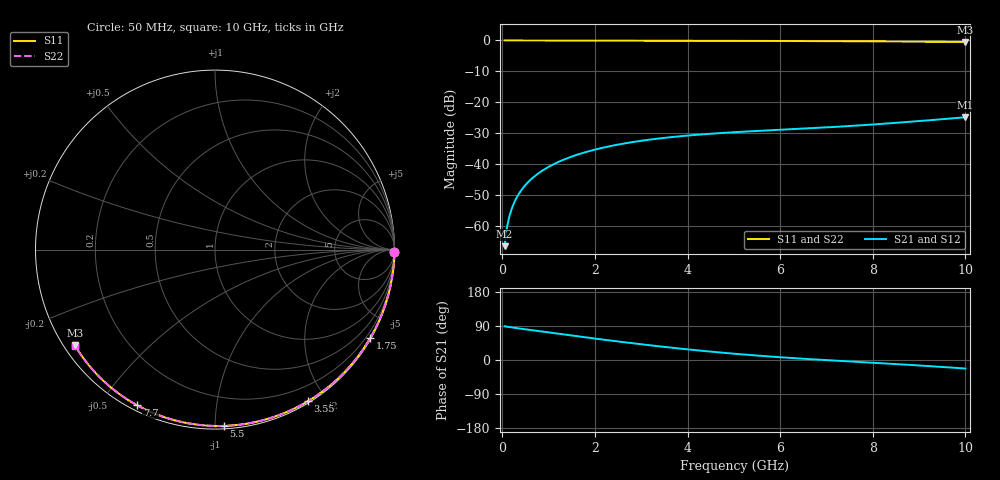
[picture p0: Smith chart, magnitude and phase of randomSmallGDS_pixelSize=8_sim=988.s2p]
! freq	dB(S11)	phase(S11)	dB(S12)	phase(S12)
!  dB(S21)	phase(S21)	dB(S22)	phase(S22)
!S-par simulation data
#  GHz  S  DB  R 50
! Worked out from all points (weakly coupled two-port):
!   200 points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, 50 MHz to 10 GHz, reference 50 ohm
!   highest |S21| = -24.90 dB at 10 GHz (marker M1); lowest = -66.7 dB at 50 MHz (marker M2)
!   lowest |S11| = -0.5 dB at 10 GHz (marker M3), VSWR 35.71, Z = 1.53 - j15.5 ohm
!   |S11| at or under -10 dB: nowhere
!   |S22| runs from -0.5 to 0.0 dB; largest |S21 - S12| = 0
!   S11 on the Smith chart (normalised r, x): 50 MHz: open; 1.75 GHz: 0.03, -3.78; 3.55 GHz: 0.02, -1.79; 5.5 GHz: 0.02, -1.05; 7.7 GHz: 0.02, -0.62; 10 GHz: 0.03, -0.31
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0.05  -0.00 -0.9  -66.69 88.9  -66.69 88.9  -0.00 -0.9
0.1  -0.00 -1.7  -60.69 87.9  -60.69 87.9  -0.00 -1.7
0.15  -0.00 -2.6  -57.19 86.9  -57.19 86.9  -0.00 -2.6
0.2  -0.00 -3.4  -54.71 86.0  -54.71 86.0  -0.00 -3.4
0.25  -0.00 -4.3  -52.80 85.1  -52.80 85.1  -0.00 -4.3
0.35  -0.00 -6.0  -49.91 83.5  -49.91 83.5  -0.00 -6.0
0.5  -0.01 -8.6  -46.86 81.0  -46.86 81.0  -0.01 -8.6
0.7  -0.01 -12.0  -43.99 77.7  -43.99 77.7  -0.01 -12.0
1  -0.02 -17.1  -40.98 72.7  -40.98 72.7  -0.02 -17.1
1.35  -0.03 -23.0  -38.50 67.0  -38.50 67.0  -0.03 -22.9
1.75  -0.04 -29.6  -36.42 60.5  -36.42 60.5  -0.04 -29.6
2.5  -0.05 -41.9  -33.75 48.9  -33.75 48.9  -0.05 -41.9
3.4  -0.08 -56.1  -31.75 35.9  -31.75 35.9  -0.08 -56.1
3.55  -0.08 -58.4  -31.49 33.9  -31.49 33.9  -0.08 -58.4
4.3  -0.10 -69.8  -30.46 24.4  -30.46 24.4  -0.10 -69.8
5.05  -0.13 -80.7  -29.71 16.1  -29.71 16.1  -0.13 -80.7
5.5  -0.14 -87.1  -29.34 11.7  -29.34 11.7  -0.14 -87.1
6.7  -0.20 -103.5  -28.42 1.8  -28.42 1.8  -0.20 -103.5
7.7  -0.27 -116.6  -27.55 -5.1  -27.55 -5.1  -0.27 -116.5
8.35  -0.32 -124.9  -26.88 -9.6  -26.88 -9.6  -0.32 -124.8
9.2  -0.40 -135.6  -25.89 -15.9  -25.89 -15.9  -0.40 -135.5
10  -0.49 -145.6  -24.90 -22.5  -24.90 -22.5  -0.49 -145.6
